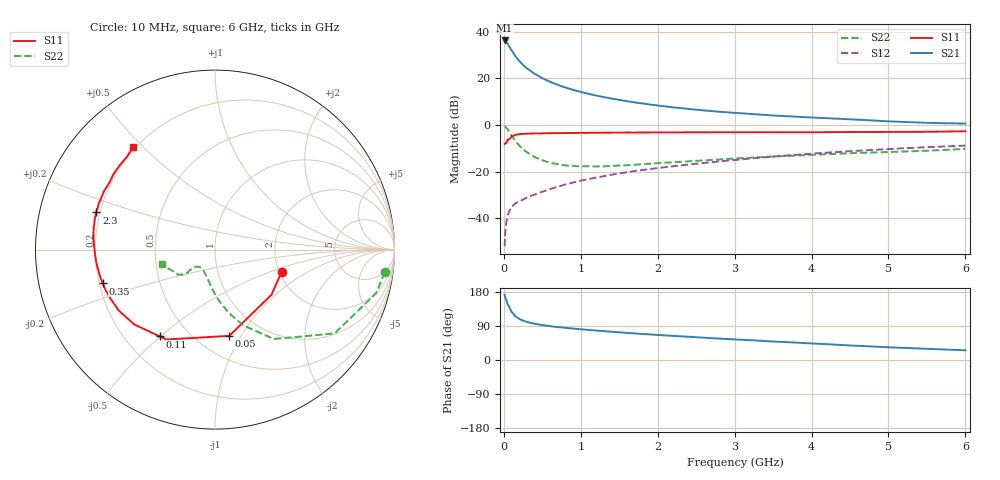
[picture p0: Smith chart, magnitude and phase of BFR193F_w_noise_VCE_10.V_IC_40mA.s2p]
! (c) 2017  Infineon Technologies AG, Munich
! Infineon Technologies  Discrete & RF Semiconductors
! BFR193F
! VCE =  10. V,  IC =  40 mA
! Common Emitter S-Parameters:  Jan 2017
# GHz  S  MA  R  50
!  f  S11  S21  S12  S22
! GHz  MAG  ANG  MAG  ANG  MAG  ANG  MAG  ANG
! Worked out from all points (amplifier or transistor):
!   77 points, 10 MHz to 6 GHz, reference 50 ohm
!   highest |S21| = 36.3 dB at 10 MHz (marker M1)
!   |S21| within 3 dB of that: start of sweep to 77.46 MHz
!   unconditionally stable (mu >= 1): 1.059 GHz to 2.63 GHz
!   at 130 MHz: K = 0.40, MSG = 32.4 dB, |S12| = -34.3 dB
!   at 2.2 GHz: K = 1.02, MAG = 11.8 dB, |S12| = -17.8 dB
!   at 6 GHz: K = 0.85, MSG = 4.7 dB, |S12| = -8.9 dB
!   lowest NFmin = 1.34 dB at 450 MHz
!   S11 on the Smith chart (normalised r, x): 10 MHz: 2.06, -0.61; 50 MHz: 0.71, -0.89; 110 MHz: 0.35, -0.50; 350 MHz: 0.21, -0.14; 2.3 GHz: 0.19, +0.15; 6 GHz: 0.19, +0.46
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0.01  0.3914 -18.7  65.11 172.2  0.0025 86.0  0.9538 -7.6
0.02  0.4029 -38.6  63.35 164.7  0.0054 79.3  0.9303 -15.1
0.05  0.4873 -80.6  54.95 146.5  0.0118 64.7  0.814 -35.0
0.1  0.5698 -118.5  40.12 126.4  0.0172 53.0  0.596 -56.7
0.11  0.5734 -122.5  38.01 124.7  0.0179 52.4  0.5651 -58.7
0.15  0.6137 -137.3  30.06 115.3  0.0207 50.5  0.451 -69.5
0.2  0.6348 -147.7  23.67 108.4  0.023 50.7  0.3629 -77.5
0.25  0.6431 -154.9  19.35 103.8  0.025 51.8  0.2992 -83.9
0.3  0.6501 -159.8  16.38 100.5  0.0277 53.4  0.2596 -88.7
0.35  0.6526 -163.2  14.41 98.3  0.0299 55.0  0.2319 -92.1
0.4  0.6573 -166.5  12.47 95.5  0.0321 56.3  0.2052 -96.3
0.5  0.6606 -170.8  10.06 92.1  0.0369 60.7  0.1745 -102.6
0.6  0.6655 -174.0  8.438 89.3  0.0418 63.4  0.1547 -108.1
0.8  0.6701 -178.8  6.359 84.9  0.0526 66.6  0.1358 -117.2
1.1  0.6778 175.8  4.662 79.3  0.0689 69.9  0.1296 -126.6
1.5  0.6851 170.7  3.45 73.1  0.0912 71.7  0.1348 -134.7
2.1  0.6918 164.4  2.503 64.9  0.1241 72.4  0.1548 -139.8
2.3  0.6929 162.6  2.298 62.5  0.1354 72.4  0.1619 -140.3
3.1  0.6958 155.8  1.773 53.3  0.1832 71.5  0.1944 -140.2
4.1  0.698 147.1  1.419 42.7  0.248 68.1  0.2314 -142.9
5.1  0.7094 137.3  1.178 32.7  0.3096 62.9  0.2658 -153.4
6  0.7312 128.8  1.069 25.6  0.3604 57.9  0.3063 -164.4
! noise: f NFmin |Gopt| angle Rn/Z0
0.45  1.34  0.43  179  0.06
0.9  1.42  0.44  180  0.07
1.9  1.98  0.59  -165  0.08
2.4  2.27  0.61  -157  0.13
